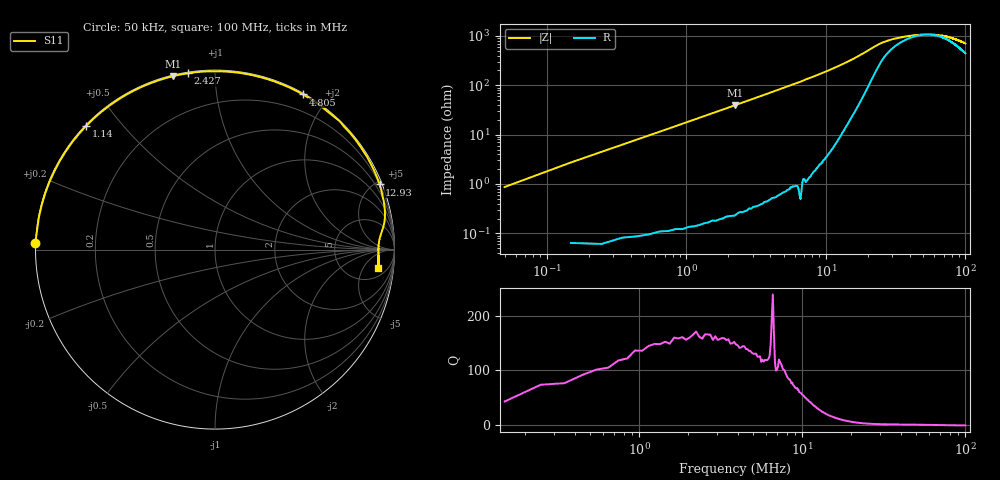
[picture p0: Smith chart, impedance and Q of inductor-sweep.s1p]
# HZ S RI R 50
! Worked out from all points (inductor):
!   1010 points, 50 kHz to 100 MHz, reference 50 ohm
!   read as one part to ground: L = 2.83 uH near 545.2 kHz
!   highest Q = 159 at 2.229 MHz (marker M1), where L = 2.81 uH
!   self-resonance near 53.82 MHz
!   S11 on the Smith chart (normalised r, x): 50 kHz: -0.00, +0.02; 1.14 MHz: 0.00, +0.40; 2.427 MHz: 0.01, +0.86; 4.805 MHz: 0.01, +1.72; 12.93 MHz: 0.20, +5.23; 100 MHz: 9, -11
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50000  -1.001 0.0348
248100  -0.9816 0.1779
545200  -0.9236 0.3736
842400  -0.8322 0.5463
1139600  -0.7169 0.6903
1337700  -0.6312 0.7689
1634900  -0.4971 0.8614
1932100  -0.3625 0.9256
2229200  -0.2334 0.9666
2427300  -0.1515 0.9822
2922600  0.0331 0.9933
3517000  0.216 0.97
4111300  0.3605 0.9257
4804700  0.4898 0.8644
5993400  0.6425 0.7579
7677400  0.7717 0.6262
9856700  0.8588 0.4952
1.263036e7  0.9133 0.3735
1.292746e7  0.9166 0.363
1.550296e7  0.9372 0.284
1.847476e7  0.9466 0.215
2.511162e7  0.9352 0.1171
3.759297e7  0.9146 0.0476
5.007429e7  0.9108 0.00944
6.255555e7  0.9108 -0.0204
7.503691e7  0.9116 -0.0479
8.751816e7  0.9115 -0.0737
9.999952e7  0.9092 -0.1009
